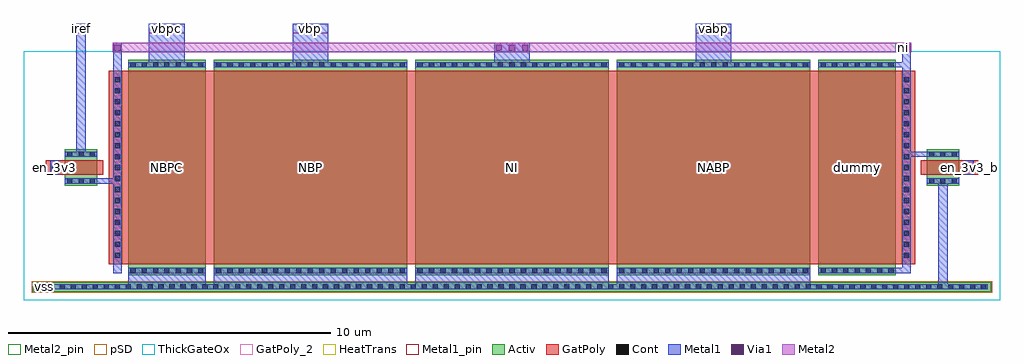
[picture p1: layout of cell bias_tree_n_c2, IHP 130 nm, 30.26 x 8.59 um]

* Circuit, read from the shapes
.subckt bias_tree_n_c2 en_3v3 en_3v3_b iref ni vabp vbp vbpc vss
XM1 iref en_3v3 ni vss sg13_hv_nmos w=1u l=0.45u
XM2 vbpc ni vss vss sg13_hv_nmos w=2.4u l=6u
XM3 vbp ni vss vss sg13_hv_nmos w=6u l=6u
XM4 ni ni vss vss sg13_hv_nmos w=6u l=6u
XM5 vabp ni vss vss sg13_hv_nmos w=6u l=6u
XM6 ni ni ni vss sg13_hv_nmos w=2.4u l=6u
XM7 ni en_3v3_b vss vss sg13_hv_nmos w=1u l=0.45u
.ends

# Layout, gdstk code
from math import pi, radians
import gdstk
lib = gdstk.Library(unit=1e-6, precision=1e-09)
def R(c, l, rs):  # rectangles x0, y0, x1, y1
    for r in rs: c.add(gdstk.rectangle(r[:2], r[2:], *l))
def A(c, l, x, y, w, h, nx, ny, dx, dy):  # array of equal rectangles
    R(c, l, [(x+i*dx, y+j*dy, x+i*dx+w, y+j*dy+h) for i in range(nx) for j in range(ny)])
Activ = (1, 0)
GatPoly = (5, 0)
GatPoly_2 = (5, 2)
Cont = (6, 0)
Metal1 = (8, 0)
Metal1_pin = (8, 2)
Metal2 = (10, 0)
Metal2_pin = (10, 2)
pSD = (14, 0)
Via1 = (19, 0)
ThickGateOx = (44, 0)
HeatTrans = (51, 0)

nmoshv_8 = lib.new_cell('nmosHV$8')
R(nmoshv_8, Activ, [(0,0,0.3,0.3), (0,0,6.68,2.4), (6.38,0,6.68,0.3)])
R(nmoshv_8, GatPoly, [(0.34,-0.18,6.34,2.58)])
R(nmoshv_8, GatPoly_2, [(0.34,-0.18,6.34,2.58)])
A(nmoshv_8, Cont, 0.07, 0.07, 0.16, 0.16, 1, 7, 0, 0.35)
A(nmoshv_8, Cont, 6.45, 0.07, 0.16, 0.16, 1, 7, 0, 0.35)
R(nmoshv_8, Metal1, [(0.07,0,0.23,2.4), (6.45,0,6.61,2.4)])
R(nmoshv_8, Metal1_pin, [(0.07,0,0.23,2.4), (6.45,0,6.61,2.4)])
R(nmoshv_8, ThickGateOx, [(-0.27,-0.52,6.95,2.92)])
R(nmoshv_8, HeatTrans, [(0.34,-0.18,6.34,2.58)])
nmoshv_8.add(gdstk.Label('nmosHV', (3.34,1.2), layer=63, texttype=0))
nmoshv_8.add(gdstk.Label('nmosHV', (3.34,1.2), layer=51, texttype=0))

nmoshv_1 = lib.new_cell('nmosHV$1')
R(nmoshv_1, Activ, [(0,0,0.3,0.3), (0,0,6.68,6), (6.38,0,6.68,0.3)])
R(nmoshv_1, GatPoly, [(0.34,-0.18,6.34,6.18)])
R(nmoshv_1, GatPoly_2, [(0.34,-0.18,6.34,6.18)])
A(nmoshv_1, Cont, 0.07, 0.07, 0.16, 0.16, 1, 4, 0, 0.355)
A(nmoshv_1, Cont, 6.45, 0.07, 0.16, 0.16, 1, 4, 0, 0.355)
A(nmoshv_1, Cont, 0.07, 1.495, 0.16, 0.16, 1, 4, 0, 0.355)
A(nmoshv_1, Cont, 6.45, 1.495, 0.16, 0.16, 1, 4, 0, 0.355)
A(nmoshv_1, Cont, 0.07, 2.92, 0.16, 0.16, 1, 4, 0, 0.355)
A(nmoshv_1, Cont, 6.45, 2.92, 0.16, 0.16, 1, 4, 0, 0.355)
A(nmoshv_1, Cont, 0.07, 4.345, 0.16, 0.16, 1, 4, 0, 0.355)
A(nmoshv_1, Cont, 6.45, 4.345, 0.16, 0.16, 1, 4, 0, 0.355)
R(nmoshv_1, Cont, [(0.07,5.77,0.23,5.93), (6.45,5.77,6.61,5.93)])
R(nmoshv_1, Metal1, [(0.07,0,0.23,6), (6.45,0,6.61,6)])
R(nmoshv_1, Metal1_pin, [(0.07,0,0.23,6), (6.45,0,6.61,6)])
R(nmoshv_1, ThickGateOx, [(-0.27,-0.52,6.95,6.52)])
R(nmoshv_1, HeatTrans, [(0.34,-0.18,6.34,6.18)])
nmoshv_1.add(gdstk.Label('nmosHV', (3.34,3), layer=63, texttype=0))
nmoshv_1.add(gdstk.Label('nmosHV', (3.34,3), layer=51, texttype=0))

nmoshv_7 = lib.new_cell('nmosHV$7')
R(nmoshv_7, Activ, [(0,0,0.3,0.3), (0,0,1.13,1), (0.83,0,1.13,0.3)])
R(nmoshv_7, GatPoly, [(0.34,-0.18,0.79,1.18)])
R(nmoshv_7, GatPoly_2, [(0.34,-0.18,0.79,1.18)])
A(nmoshv_7, Cont, 0.07, 0.07, 0.16, 0.16, 1, 3, 0, 0.35)
A(nmoshv_7, Cont, 0.9, 0.07, 0.16, 0.16, 1, 3, 0, 0.35)
R(nmoshv_7, Metal1, [(0.07,0,0.23,1), (0.9,0,1.06,1)])
R(nmoshv_7, Metal1_pin, [(0.07,0,0.23,1), (0.9,0,1.06,1)])
R(nmoshv_7, ThickGateOx, [(-0.27,-0.52,1.4,1.52)])
R(nmoshv_7, HeatTrans, [(0.34,-0.18,0.79,1.18)])
nmoshv_7.add(gdstk.Label('nmosHV', (0.565,0.5), layer=63, texttype=0))
nmoshv_7.add(gdstk.Label('nmosHV', (0.565,0.5), layer=51, texttype=0))

bias_tree_n_c2 = lib.new_cell('bias_tree_n_c2')
R(bias_tree_n_c2, Activ, [(-2.96,-0.51,26.76,-0.21)])
R(bias_tree_n_c2, GatPoly, [(-0.6,0.34,-0.1,6.34), (23.9,0.34,24.4,6.34), (-2.56,3.115,-2.06,3.565), (25.86,3.115,26.36,3.565)])
A(bias_tree_n_c2, Cont, -2.8, -0.44, 0.16, 0.16, 87, 1, 0.34, 0)
A(bias_tree_n_c2, Cont, -0.41, 0.54, 0.16, 0.16, 1, 17, 0, 0.34)
A(bias_tree_n_c2, Cont, 24.05, 0.54, 0.16, 0.16, 1, 17, 0, 0.34)
R(bias_tree_n_c2, Cont, [(-2.37,3.26,-2.21,3.42), (26.01,3.26,26.17,3.42)])
A(bias_tree_n_c2, Metal1, 2.65, -0.44, 6, 0.67, 3, 1, 6.25, 0)
R(bias_tree_n_c2, Metal1, [(-2.85,-0.44,26.65,-0.28), (0,-0.44,2.4,0.23), (25.115,-0.44,25.405,3.005), (-0.46,0.07,-0.2,6.61), (23.7,0.07,24.13,0.23), (24,0.07,24.26,6.61), (-1.06,2.845,-0.33,3.005), (-2.42,3.115,-2.16,3.565), (25.96,3.115,26.22,3.565), (-1.605,3.675,-1.315,7.805), (24.13,3.675,24.86,3.835), (0.645,6.45,1.755,7.805), (5.095,6.45,6.205,7.805), (11.345,6.45,12.455,7.205), (17.595,6.45,18.705,7.805), (23.7,6.45,24.13,6.61), (-0.46,6.48,-0.2,7.205), (24,6.48,24.26,7.205)])
R(bias_tree_n_c2, Metal1_pin, [(-2.85,-0.44,-2.35,-0.28), (-2.42,3.115,-2.16,3.565), (25.96,3.115,26.22,3.565), (-1.605,7.505,-1.315,7.805), (0.645,7.505,1.755,7.805), (5.095,7.505,6.205,7.805), (17.595,7.505,18.705,7.805)])
R(bias_tree_n_c2, Metal2, [(-0.475,6.915,24.275,7.205)])
R(bias_tree_n_c2, Metal2_pin, [(23.775,6.915,24.275,7.205)])
R(bias_tree_n_c2, pSD, [(-2.99,-0.54,26.79,-0.18)])
A(bias_tree_n_c2, Via1, 11.395, 6.965, 0.19, 0.19, 3, 1, 0.41, 0)
R(bias_tree_n_c2, Via1, [(-0.425,6.965,-0.235,7.155), (24.035,6.965,24.225,7.155)])
R(bias_tree_n_c2, ThickGateOx, [(-3.23,-0.78,27.03,6.95)])
bias_tree_n_c2.add(gdstk.Reference(nmoshv_8, (0,6.68), rotation=3*pi/2))
bias_tree_n_c2.add(gdstk.Reference(nmoshv_1, (2.65,6.68), rotation=3*pi/2))
bias_tree_n_c2.add(gdstk.Reference(nmoshv_1, (8.9,6.68), rotation=3*pi/2))
bias_tree_n_c2.add(gdstk.Reference(nmoshv_1, (21.15,6.68), rotation=3*pi/2, x_reflection=True))
bias_tree_n_c2.add(gdstk.Reference(nmoshv_8, (23.8,6.68), rotation=3*pi/2, x_reflection=True))
bias_tree_n_c2.add(gdstk.Reference(nmoshv_7, (-1.96,3.905), rotation=3*pi/2))
bias_tree_n_c2.add(gdstk.Reference(nmoshv_7, (25.76,3.905), rotation=3*pi/2, x_reflection=True))
bias_tree_n_c2.add(gdstk.Label('vbpc', (1.2,7.655), layer=8, texttype=25))
bias_tree_n_c2.add(gdstk.Label('vbp', (5.65,7.655), layer=8, texttype=25))
bias_tree_n_c2.add(gdstk.Label('vabp', (18.15,7.655), layer=8, texttype=25))
bias_tree_n_c2.add(gdstk.Label('iref', (-1.46,7.655), layer=8, texttype=25))
bias_tree_n_c2.add(gdstk.Label('en_3v3', (-2.29,3.34), layer=8, texttype=25))
bias_tree_n_c2.add(gdstk.Label('en_3v3_b', (26.09,3.34), layer=8, texttype=25))
bias_tree_n_c2.add(gdstk.Label('vss', (-2.6,-0.36), layer=8, texttype=25))
bias_tree_n_c2.add(gdstk.Label('ni', (24.025,7.06), layer=10, texttype=25))
bias_tree_n_c2.add(gdstk.Label('NBPC', (1.2,3.34), layer=63, texttype=0))
bias_tree_n_c2.add(gdstk.Label('NBP', (5.65,3.34), layer=63, texttype=0))
bias_tree_n_c2.add(gdstk.Label('NI', (11.9,3.34), layer=63, texttype=0))
bias_tree_n_c2.add(gdstk.Label('NABP', (18.15,3.34), layer=63, texttype=0))
bias_tree_n_c2.add(gdstk.Label('dummy', (22.6,3.34), layer=63, texttype=0))
bias_tree_n_c2.add(gdstk.Label('TGN', (-1.46,3.34), layer=63, texttype=0))
bias_tree_n_c2.add(gdstk.Label('TDN', (25.26,3.34), layer=63, texttype=0))

lib.write_gds('bias_tree_n_c2.gds')
